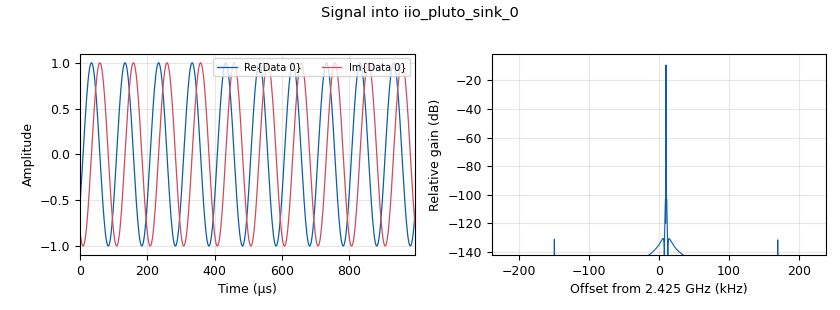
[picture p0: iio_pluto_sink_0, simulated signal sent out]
options:
  parameters:
    generate_options: qt_gui
    id: P_UT_TEST
    output_language: python
    title: Utgangseffekt Test
  states: {}

blocks:
- name: LO_freq
  id: variable
  parameters:
    value: 2.425e9
  states: {}
- name: samp_rate
  id: variable
  parameters:
    value: int(480e3)
  states: {}
- name: analog_sig_source_x_0
  id: analog_sig_source_x
  parameters:
    amp: '1'
    freq: 10e3
    offset: '0'
    phase: '0'
    samp_rate: samp_rate
    type: complex
    waveform: analog.GR_COS_WAVE
  states: {}
- name: iio_pluto_sink_0
  id: iio_pluto_sink
  parameters:
    attenuation1: '0'
    bandwidth: int(samp_rate/2)
    buffer_size: int(samp_rate/40)
    cyclic: 'False'
    filter_source: '''Auto'''
    frequency: int(LO_freq)
    samplerate: samp_rate
    type: fc32
    uri: ip:192.168.2.1
  states: {}

connections:
- [analog_sig_source_x_0, '0', iio_pluto_sink_0, '0']

metadata:
  file_format: 1
  grc_version: 3.10.9.2
